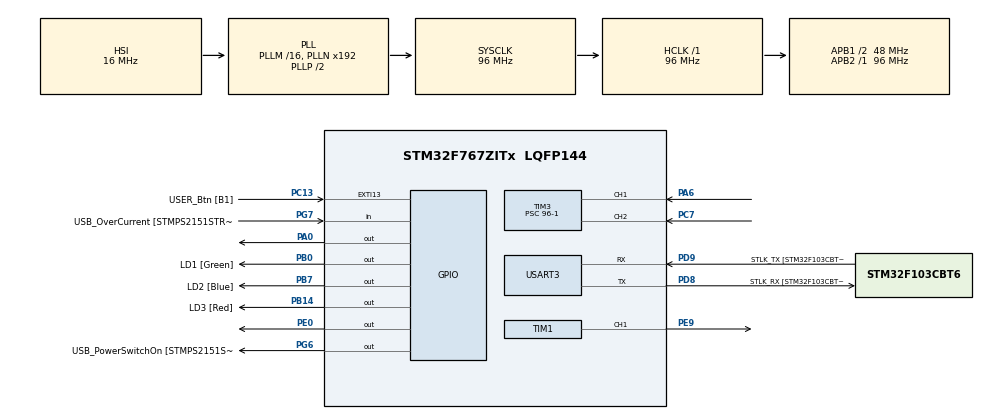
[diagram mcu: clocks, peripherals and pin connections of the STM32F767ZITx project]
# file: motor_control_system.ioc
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Mcu.Family=STM32F7
Mcu.Name=STM32F767ZITx
Mcu.Package=LQFP144
NVIC.PriorityGroup=NVIC_PRIORITYGROUP_4
NVIC.TIM2_IRQn=true\:0\:0\:false\:false\:true\:true\:true\:true
NVIC.TIM3_IRQn=true\:0\:0\:false\:false\:true\:true\:true\:true
NVIC.USART3_IRQn=true\:0\:0\:false\:false\:true\:true\:true\:true
PA0/WKUP.Signal=GPIO_Output
PA1.GPIO_Label=RMII_REF_CLK [LAN8742A-CZ-TR_REFCLK0]
PA1.Signal=ETH_REF_CLK
PA10.GPIO_Label=USB_ID
PA10.Signal=USB_OTG_FS_ID
PA11.GPIO_Label=USB_DM
PA11.Signal=USB_OTG_FS_DM
PA12.GPIO_Label=USB_DP
PA12.Signal=USB_OTG_FS_DP
PA13.GPIO_Label=TMS
PA13.Signal=SYS_JTMS-SWDIO
PA14.GPIO_Label=TCK
PA14.Signal=SYS_JTCK-SWCLK
PA2.GPIO_Label=RMII_MDIO [LAN8742A-CZ-TR_MDIO]
PA2.Signal=ETH_MDIO
PA6.Signal=S_TIM3_CH1
PA7.GPIO_Label=RMII_CRS_DV [LAN8742A-CZ-TR_CRS_DV]
PA7.Signal=ETH_CRS_DV
PA8.GPIO_Label=USB_SOF [TP1]
PA8.Signal=USB_OTG_FS_SOF
PA9.GPIO_Label=USB_VBUS
PA9.Signal=USB_OTG_FS_VBUS
PB0.GPIO_Label=LD1 [Green]
PB0.Signal=GPIO_Output
PB13.GPIO_Label=RMII_TXD1 [LAN8742A-CZ-TR_TXD1]
PB13.Signal=ETH_TXD1
PB14.GPIO_Label=LD3 [Red]
PB14.Signal=GPIO_Output
PB3.GPIO_Label=SW0
PB3.Signal=SYS_JTDO-SWO
PB7.GPIO_Label=LD2 [Blue]
PB7.Signal=GPIO_Output
PC1.GPIO_Label=RMII_MDC [LAN8742A-CZ-TR_MDC]
PC1.Signal=ETH_MDC
PC13.GPIO_Label=USER_Btn [B1]
PC13.Signal=GPXTI13
PC14/OSC32_IN.Signal=RCC_OSC32_IN
PC15/OSC32_OUT.Signal=RCC_OSC32_OUT
PC4.GPIO_Label=RMII_RXD0 [LAN8742A-CZ-TR_RXD0]
PC4.Signal=ETH_RXD0
PC5.GPIO_Label=RMII_RXD1 [LAN8742A-CZ-TR_RXD1]
PC5.Signal=ETH_RXD1
PC7.Signal=S_TIM3_CH2
PD8.GPIO_Label=STLK_RX [STM32F103CBT6_PA3]
PD8.Mode=Asynchronous
PD8.Signal=USART3_TX
PD9.GPIO_Label=STLK_TX [STM32F103CBT6_PA2]
PD9.Mode=Asynchronous
PD9.Signal=USART3_RX
PE0.Signal=GPIO_Output
PE9.Signal=S_TIM1_CH1
PG11.GPIO_Label=RMII_TX_EN [LAN8742A-CZ-TR_TXEN]
PG11.Signal=ETH_TX_EN
PG13.GPIO_Label=RMII_TXD0 [LAN8742A-CZ-TR_TXD0]
PG13.Signal=ETH_TXD0
PG6.GPIO_Label=USB_PowerSwitchOn [STMPS2151STR_EN]
PG6.Signal=GPIO_Output
PG7.GPIO_Label=USB_OverCurrent [STMPS2151STR_FAULT]
PG7.Signal=GPIO_Input
PH0/OSC_IN.GPIO_Label=MCO [STM32F103CBT6_PA8]
PH0/OSC_IN.Mode=HSE-External-Oscillator
PH0/OSC_IN.Signal=RCC_OSC_IN
PH1/OSC_OUT.Mode=HSE-External-Oscillator
PH1/OSC_OUT.Signal=RCC_OSC_OUT
ProjectManager.HeapSize=0x200
ProjectManager.StackSize=0x400
ProjectManager.TargetToolchain=STM32CubeIDE
RCC.48MHZClocksFreq_Value=24000000
RCC.AHBFreq_Value=96000000
RCC.APB1CLKDivider=RCC_HCLK_DIV2
RCC.APB1Freq_Value=48000000
RCC.APB1TimFreq_Value=96000000
RCC.APB2Freq_Value=96000000
RCC.APB2TimFreq_Value=96000000
RCC.CortexFreq_Value=96000000
RCC.HCLKFreq_Value=96000000
RCC.HSE_VALUE=16000000
RCC.HSI_VALUE=16000000
RCC.LSE_VALUE=32768
RCC.PLLMUL=RCC_PLL_MUL9
RCC.PRESCALERUSB=RCC_USBCLKSOURCE_PLL_DIV1_5
RCC.SYSCLKFreq_VALUE=96000000
RCC.SYSCLKSource=RCC_SYSCLKSOURCE_PLLCLK
RCC.SYSCLKSourceVirtual=RCC_SYSCLKSOURCE_PLLCLK
RCC.USBFreq_Value=96000000
RCC.VCOOutputFreq_Value=192000000
SH.S_TIM1_CH1.0=TIM1_CH1,PWM Generation1 CH1
SH.S_TIM3_CH1.0=TIM3_CH1,Encoder_Interface
SH.S_TIM3_CH2.0=TIM3_CH2,Encoder_Interface
TIM1.Channel-PWM\ Generation1\ CH1=TIM_CHANNEL_1
TIM1.Period=1000-1
TIM1.Prescaler=96-1
TIM2.Period=10000-1
TIM2.Prescaler=9600-1
TIM3.Period=1-1
TIM3.Prescaler=96-1
USART3.VirtualMode-Asynchronous=VM_ASYNC
VP_TIM1_VS_ClockSourceINT.Mode=Internal
VP_TIM2_VS_ClockSourceINT.Mode=Internal
board=NUCLEO-F767ZI

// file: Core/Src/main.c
/* USER CODE BEGIN Header */
/**
  ******************************************************************************
  * @file           : main.c
  * @brief          : Main program body
  ******************************************************************************
  * @attention
  *
  * Copyright (c) 2025 STMicroelectronics.
  * All rights reserved.
  *
  * This software is licensed under terms that can be found in the LICENSE file
  * in the root directory of this software component.
  * If no LICENSE file comes with this software, it is provided AS-IS.
  *
  ******************************************************************************
  */
/* USER CODE END Header */
#include "main.h"

/* USER CODE BEGIN Includes */
#include <string.h>
#include <stdlib.h>
#include "pid_controller.h"
/* USER CODE END Includes */

TIM_HandleTypeDef htim1;
TIM_HandleTypeDef htim2;
TIM_HandleTypeDef htim3;

UART_HandleTypeDef huart3;

/* USER CODE BEGIN PV */
const uint32_t max_rpm = 150;
uint32_t adc_raw = 0, pulses_per_sec = 0, proc_rpm = 0, setp_rpm = 0;
uint32_t pid_dc = 0, pid_rpm = 0;

// P = 0.55, I = 0.8, D = 0.0
const float P = 0.55f, I = 0.8f, D = 0.0f;

char rx_char[2] = {'\0'};
char tx_msg[12] = {'\0'};
uint8_t msg_pos = 0;

/* USER CODE END PV */

void SystemClock_Config(void);
static void MX_GPIO_Init(void);
static void MX_TIM2_Init(void);
static void MX_TIM3_Init(void);
static void MX_TIM1_Init(void);
static void MX_USART3_UART_Init(void);
/* USER CODE BEGIN PFP */
void HAL_TIM_IC_CaptureCallback(TIM_HandleTypeDef *htim);
void HAL_UART_RxCpltCallback(UART_HandleTypeDef *huart);

/* USER CODE END PFP */

int main(void)
{

  /* MCU Configuration--------------------------------------------------------*/

  /* Reset of all peripherals, Initializes the Flash interface and the Systick. */
  HAL_Init();

  /* Configure the system clock */
  SystemClock_Config();

  /* Initialize all configured peripherals */
  MX_GPIO_Init();
  MX_TIM2_Init();
  MX_TIM3_Init();
  MX_TIM1_Init();
  MX_USART3_UART_Init();
  /* USER CODE BEGIN 2 */
  HAL_TIM_Encoder_Start_IT(&htim3, TIM_CHANNEL_ALL);
  HAL_TIM_Base_Start_IT(&htim2);
  HAL_TIM_PWM_Start(&htim1, TIM_CHANNEL_1);

  /* USER CODE END 2 */

  /* Infinite loop */
  /* USER CODE BEGIN WHILE */
  //htim1.Instance->CCR1 = 1000-1;
  HAL_GPIO_WritePin(GPIOA, GPIO_PIN_0, 1);
  HAL_GPIO_WritePin(GPIOE, GPIO_PIN_0, 0);

  HAL_UART_Receive_IT(&huart3, (uint8_t*)rx_char, 1);

  // setp_dc = setpoint CONSTANT
  // process = encoder reading

  htim1.Instance->CCR1 = pid_dc;

  while (1)
  {
    /* USER CODE END WHILE */

    /* USER CODE BEGIN 3 */
	pid_rpm = (uint32_t)PID_controller_1((float)setp_rpm, (float)proc_rpm, P, I, D, (float)max_rpm);
	pid_dc = (uint32_t)(((float)(pid_rpm)/1.5f)*10.0f);
	htim1.Instance->CCR1 = pid_dc;
	HAL_Delay(1);
  }
  /* USER CODE END 3 */
}

void SystemClock_Config(void)
{
  RCC_OscInitTypeDef RCC_OscInitStruct = {0};
  RCC_ClkInitTypeDef RCC_ClkInitStruct = {0};

  /** Configure the main internal regulator output voltage
  */
  __HAL_RCC_PWR_CLK_ENABLE();
  __HAL_PWR_VOLTAGESCALING_CONFIG(PWR_REGULATOR_VOLTAGE_SCALE3);

  /** Initializes the RCC Oscillators according to the specified parameters
  * in the RCC_OscInitTypeDef structure.
  */
  RCC_OscInitStruct.OscillatorType = RCC_OSCILLATORTYPE_HSI;
  RCC_OscInitStruct.HSIState = RCC_HSI_ON;
  RCC_OscInitStruct.HSICalibrationValue = RCC_HSICALIBRATION_DEFAULT;
  RCC_OscInitStruct.PLL.PLLState = RCC_PLL_ON;
  RCC_OscInitStruct.PLL.PLLSource = RCC_PLLSOURCE_HSI;
  RCC_OscInitStruct.PLL.PLLM = 16;
  RCC_OscInitStruct.PLL.PLLN = 192;
  RCC_OscInitStruct.PLL.PLLP = RCC_PLLP_DIV2;
  RCC_OscInitStruct.PLL.PLLQ = 2;
  RCC_OscInitStruct.PLL.PLLR = 2;
  if (HAL_RCC_OscConfig(&RCC_OscInitStruct) != HAL_OK)
  {
    Error_Handler();
  }

  /** Activate the Over-Drive mode
  */
  if (HAL_PWREx_EnableOverDrive() != HAL_OK)
  {
    Error_Handler();
  }

  /** Initializes the CPU, AHB and APB buses clocks
  */
  RCC_ClkInitStruct.ClockType = RCC_CLOCKTYPE_HCLK|RCC_CLOCKTYPE_SYSCLK
                              |RCC_CLOCKTYPE_PCLK1|RCC_CLOCKTYPE_PCLK2;
  RCC_ClkInitStruct.SYSCLKSource = RCC_SYSCLKSOURCE_PLLCLK;
  RCC_ClkInitStruct.AHBCLKDivider = RCC_SYSCLK_DIV1;
  RCC_ClkInitStruct.APB1CLKDivider = RCC_HCLK_DIV2;
  RCC_ClkInitStruct.APB2CLKDivider = RCC_HCLK_DIV1;

  if (HAL_RCC_ClockConfig(&RCC_ClkInitStruct, FLASH_LATENCY_3) != HAL_OK)
  {
    Error_Handler();
  }
}

static void MX_TIM1_Init(void)
{

  TIM_ClockConfigTypeDef sClockSourceConfig = {0};
  TIM_MasterConfigTypeDef sMasterConfig = {0};
  TIM_OC_InitTypeDef sConfigOC = {0};
  TIM_BreakDeadTimeConfigTypeDef sBreakDeadTimeConfig = {0};

  htim1.Instance = TIM1;
  htim1.Init.Prescaler = 96-1;
  htim1.Init.CounterMode = TIM_COUNTERMODE_UP;
  htim1.Init.Period = 1000-1;
  htim1.Init.ClockDivision = TIM_CLOCKDIVISION_DIV1;
  htim1.Init.RepetitionCounter = 0;
  htim1.Init.AutoReloadPreload = TIM_AUTORELOAD_PRELOAD_DISABLE;
  if (HAL_TIM_Base_Init(&htim1) != HAL_OK)
  {
    Error_Handler();
  }
  sClockSourceConfig.ClockSource = TIM_CLOCKSOURCE_INTERNAL;
  if (HAL_TIM_ConfigClockSource(&htim1, &sClockSourceConfig) != HAL_OK)
  {
    Error_Handler();
  }
  if (HAL_TIM_PWM_Init(&htim1) != HAL_OK)
  {
    Error_Handler();
  }
  sMasterConfig.MasterOutputTrigger = TIM_TRGO_RESET;
  sMasterConfig.MasterOutputTrigger2 = TIM_TRGO2_RESET;
  sMasterConfig.MasterSlaveMode = TIM_MASTERSLAVEMODE_DISABLE;
  if (HAL_TIMEx_MasterConfigSynchronization(&htim1, &sMasterConfig) != HAL_OK)
  {
    Error_Handler();
  }
  sConfigOC.OCMode = TIM_OCMODE_PWM1;
  sConfigOC.Pulse = 0;
  sConfigOC.OCPolarity = TIM_OCPOLARITY_HIGH;
  sConfigOC.OCNPolarity = TIM_OCNPOLARITY_HIGH;
  sConfigOC.OCFastMode = TIM_OCFAST_DISABLE;
  sConfigOC.OCIdleState = TIM_OCIDLESTATE_RESET;
  sConfigOC.OCNIdleState = TIM_OCNIDLESTATE_RESET;
  if (HAL_TIM_PWM_ConfigChannel(&htim1, &sConfigOC, TIM_CHANNEL_1) != HAL_OK)
  {
    Error_Handler();
  }
  sBreakDeadTimeConfig.OffStateRunMode = TIM_OSSR_DISABLE;
  sBreakDeadTimeConfig.OffStateIDLEMode = TIM_OSSI_DISABLE;
  sBreakDeadTimeConfig.LockLevel = TIM_LOCKLEVEL_OFF;
  sBreakDeadTimeConfig.DeadTime = 0;
  sBreakDeadTimeConfig.BreakState = TIM_BREAK_DISABLE;
  sBreakDeadTimeConfig.BreakPolarity = TIM_BREAKPOLARITY_HIGH;
  sBreakDeadTimeConfig.BreakFilter = 0;
  sBreakDeadTimeConfig.Break2State = TIM_BREAK2_DISABLE;
  sBreakDeadTimeConfig.Break2Polarity = TIM_BREAK2POLARITY_HIGH;
  sBreakDeadTimeConfig.Break2Filter = 0;
  sBreakDeadTimeConfig.AutomaticOutput = TIM_AUTOMATICOUTPUT_DISABLE;
  if (HAL_TIMEx_ConfigBreakDeadTime(&htim1, &sBreakDeadTimeConfig) != HAL_OK)
  {
    Error_Handler();
  }
  HAL_TIM_MspPostInit(&htim1);

}

static void MX_TIM2_Init(void)
{

  TIM_ClockConfigTypeDef sClockSourceConfig = {0};
  TIM_MasterConfigTypeDef sMasterConfig = {0};

  htim2.Instance = TIM2;
  htim2.Init.Prescaler = 9600-1;
  htim2.Init.CounterMode = TIM_COUNTERMODE_UP;
  htim2.Init.Period = 10000-1;
  htim2.Init.ClockDivision = TIM_CLOCKDIVISION_DIV1;
  htim2.Init.AutoReloadPreload = TIM_AUTORELOAD_PRELOAD_DISABLE;
  if (HAL_TIM_Base_Init(&htim2) != HAL_OK)
  {
    Error_Handler();
  }
  sClockSourceConfig.ClockSource = TIM_CLOCKSOURCE_INTERNAL;
  if (HAL_TIM_ConfigClockSource(&htim2, &sClockSourceConfig) != HAL_OK)
  {
    Error_Handler();
  }
  sMasterConfig.MasterOutputTrigger = TIM_TRGO_RESET;
  sMasterConfig.MasterSlaveMode = TIM_MASTERSLAVEMODE_DISABLE;
  if (HAL_TIMEx_MasterConfigSynchronization(&htim2, &sMasterConfig) != HAL_OK)
  {
    Error_Handler();
  }

}

static void MX_TIM3_Init(void)
{

  TIM_Encoder_InitTypeDef sConfig = {0};
  TIM_MasterConfigTypeDef sMasterConfig = {0};

  htim3.Instance = TIM3;
  htim3.Init.Prescaler = 96-1;
  htim3.Init.CounterMode = TIM_COUNTERMODE_UP;
  htim3.Init.Period = 1-1;
  htim3.Init.ClockDivision = TIM_CLOCKDIVISION_DIV1;
  htim3.Init.AutoReloadPreload = TIM_AUTORELOAD_PRELOAD_DISABLE;
  sConfig.EncoderMode = TIM_ENCODERMODE_TI1;
  sConfig.IC1Polarity = TIM_ICPOLARITY_RISING;
  sConfig.IC1Selection = TIM_ICSELECTION_DIRECTTI;
  sConfig.IC1Prescaler = TIM_ICPSC_DIV1;
  sConfig.IC1Filter = 0;
  sConfig.IC2Polarity = TIM_ICPOLARITY_RISING;
  sConfig.IC2Selection = TIM_ICSELECTION_DIRECTTI;
  sConfig.IC2Prescaler = TIM_ICPSC_DIV1;
  sConfig.IC2Filter = 0;
  if (HAL_TIM_Encoder_Init(&htim3, &sConfig) != HAL_OK)
  {
    Error_Handler();
  }
  sMasterConfig.MasterOutputTrigger = TIM_TRGO_RESET;
  sMasterConfig.MasterSlaveMode = TIM_MASTERSLAVEMODE_DISABLE;
  if (HAL_TIMEx_MasterConfigSynchronization(&htim3, &sMasterConfig) != HAL_OK)
  {
    Error_Handler();
  }

}

static void MX_USART3_UART_Init(void)
{

  huart3.Instance = USART3;
  huart3.Init.BaudRate = 115200;
  huart3.Init.WordLength = UART_WORDLENGTH_8B;
  huart3.Init.StopBits = UART_STOPBITS_1;
  huart3.Init.Parity = UART_PARITY_NONE;
  huart3.Init.Mode = UART_MODE_TX_RX;
  huart3.Init.HwFlowCtl = UART_HWCONTROL_NONE;
  huart3.Init.OverSampling = UART_OVERSAMPLING_16;
  huart3.Init.OneBitSampling = UART_ONE_BIT_SAMPLE_DISABLE;
  huart3.AdvancedInit.AdvFeatureInit = UART_ADVFEATURE_NO_INIT;
  if (HAL_UART_Init(&huart3) != HAL_OK)
  {
    Error_Handler();
  }

}

static void MX_GPIO_Init(void)
{
  GPIO_InitTypeDef GPIO_InitStruct = {0};

  /* GPIO Ports Clock Enable */
  __HAL_RCC_GPIOC_CLK_ENABLE();
  __HAL_RCC_GPIOH_CLK_ENABLE();
  __HAL_RCC_GPIOA_CLK_ENABLE();
  __HAL_RCC_GPIOB_CLK_ENABLE();
  __HAL_RCC_GPIOE_CLK_ENABLE();
  __HAL_RCC_GPIOD_CLK_ENABLE();
  __HAL_RCC_GPIOG_CLK_ENABLE();

  /*Configure GPIO pin Output Level */
  HAL_GPIO_WritePin(GPIOA, GPIO_PIN_0, GPIO_PIN_RESET);

  /*Configure GPIO pin Output Level */
  HAL_GPIO_WritePin(GPIOB, LD1_Pin|LD3_Pin|LD2_Pin, GPIO_PIN_RESET);

  /*Configure GPIO pin Output Level */
  HAL_GPIO_WritePin(USB_PowerSwitchOn_GPIO_Port, USB_PowerSwitchOn_Pin, GPIO_PIN_RESET);

  /*Configure GPIO pin Output Level */
  HAL_GPIO_WritePin(GPIOE, GPIO_PIN_0, GPIO_PIN_RESET);

  /*Configure GPIO pin : USER_Btn_Pin */
  GPIO_InitStruct.Pin = USER_Btn_Pin;
  GPIO_InitStruct.Mode = GPIO_MODE_IT_RISING;
  GPIO_InitStruct.Pull = GPIO_NOPULL;
  HAL_GPIO_Init(USER_Btn_GPIO_Port, &GPIO_InitStruct);

  /*Configure GPIO pins : RMII_MDC_Pin RMII_RXD0_Pin RMII_RXD1_Pin */
  GPIO_InitStruct.Pin = RMII_MDC_Pin|RMII_RXD0_Pin|RMII_RXD1_Pin;
  GPIO_InitStruct.Mode = GPIO_MODE_AF_PP;
  GPIO_InitStruct.Pull = GPIO_NOPULL;
  GPIO_InitStruct.Speed = GPIO_SPEED_FREQ_VERY_HIGH;
  GPIO_InitStruct.Alternate = GPIO_AF11_ETH;
  HAL_GPIO_Init(GPIOC, &GPIO_InitStruct);

  /*Configure GPIO pin : PA0 */
  GPIO_InitStruct.Pin = GPIO_PIN_0;
  GPIO_InitStruct.Mode = GPIO_MODE_OUTPUT_PP;
  GPIO_InitStruct.Pull = GPIO_NOPULL;
  GPIO_InitStruct.Speed = GPIO_SPEED_FREQ_LOW;
  HAL_GPIO_Init(GPIOA, &GPIO_InitStruct);

  /*Configure GPIO pins : RMII_REF_CLK_Pin RMII_MDIO_Pin RMII_CRS_DV_Pin */
  GPIO_InitStruct.Pin = RMII_REF_CLK_Pin|RMII_MDIO_Pin|RMII_CRS_DV_Pin;
  GPIO_InitStruct.Mode = GPIO_MODE_AF_PP;
  GPIO_InitStruct.Pull = GPIO_NOPULL;
  GPIO_InitStruct.Speed = GPIO_SPEED_FREQ_VERY_HIGH;
  GPIO_InitStruct.Alternate = GPIO_AF11_ETH;
  HAL_GPIO_Init(GPIOA, &GPIO_InitStruct);

  /*Configure GPIO pins : LD1_Pin LD3_Pin LD2_Pin */
  GPIO_InitStruct.Pin = LD1_Pin|LD3_Pin|LD2_Pin;
  GPIO_InitStruct.Mode = GPIO_MODE_OUTPUT_PP;
  GPIO_InitStruct.Pull = GPIO_NOPULL;
  GPIO_InitStruct.Speed = GPIO_SPEED_FREQ_LOW;
  HAL_GPIO_Init(GPIOB, &GPIO_InitStruct);

  /*Configure GPIO pin : RMII_TXD1_Pin */
  GPIO_InitStruct.Pin = RMII_TXD1_Pin;
  GPIO_InitStruct.Mode = GPIO_MODE_AF_PP;
  GPIO_InitStruct.Pull = GPIO_NOPULL;
  GPIO_InitStruct.Speed = GPIO_SPEED_FREQ_VERY_HIGH;
  GPIO_InitStruct.Alternate = GPIO_AF11_ETH;
  HAL_GPIO_Init(RMII_TXD1_GPIO_Port, &GPIO_InitStruct);

  /*Configure GPIO pin : USB_PowerSwitchOn_Pin */
  GPIO_InitStruct.Pin = USB_PowerSwitchOn_Pin;
  GPIO_InitStruct.Mode = GPIO_MODE_OUTPUT_PP;
  GPIO_InitStruct.Pull = GPIO_NOPULL;
  GPIO_InitStruct.Speed = GPIO_SPEED_FREQ_LOW;
  HAL_GPIO_Init(USB_PowerSwitchOn_GPIO_Port, &GPIO_InitStruct);

  /*Configure GPIO pin : USB_OverCurrent_Pin */
  GPIO_InitStruct.Pin = USB_OverCurrent_Pin;
  GPIO_InitStruct.Mode = GPIO_MODE_INPUT;
  GPIO_InitStruct.Pull = GPIO_NOPULL;
  HAL_GPIO_Init(USB_OverCurrent_GPIO_Port, &GPIO_InitStruct);

  /*Configure GPIO pins : USB_SOF_Pin USB_ID_Pin USB_DM_Pin USB_DP_Pin */
  GPIO_InitStruct.Pin = USB_SOF_Pin|USB_ID_Pin|USB_DM_Pin|USB_DP_Pin;
  GPIO_InitStruct.Mode = GPIO_MODE_AF_PP;
  GPIO_InitStruct.Pull = GPIO_NOPULL;
  GPIO_InitStruct.Speed = GPIO_SPEED_FREQ_VERY_HIGH;
  GPIO_InitStruct.Alternate = GPIO_AF10_OTG_FS;
  HAL_GPIO_Init(GPIOA, &GPIO_InitStruct);

  /*Configure GPIO pin : USB_VBUS_Pin */
  GPIO_InitStruct.Pin = USB_VBUS_Pin;
  GPIO_InitStruct.Mode = GPIO_MODE_INPUT;
  GPIO_InitStruct.Pull = GPIO_NOPULL;
  HAL_GPIO_Init(USB_VBUS_GPIO_Port, &GPIO_InitStruct);

  /*Configure GPIO pins : RMII_TX_EN_Pin RMII_TXD0_Pin */
  GPIO_InitStruct.Pin = RMII_TX_EN_Pin|RMII_TXD0_Pin;
  GPIO_InitStruct.Mode = GPIO_MODE_AF_PP;
  GPIO_InitStruct.Pull = GPIO_NOPULL;
  GPIO_InitStruct.Speed = GPIO_SPEED_FREQ_VERY_HIGH;
  GPIO_InitStruct.Alternate = GPIO_AF11_ETH;
  HAL_GPIO_Init(GPIOG, &GPIO_InitStruct);

  /*Configure GPIO pin : PE0 */
  GPIO_InitStruct.Pin = GPIO_PIN_0;
  GPIO_InitStruct.Mode = GPIO_MODE_OUTPUT_PP;
  GPIO_InitStruct.Pull = GPIO_NOPULL;
  GPIO_InitStruct.Speed = GPIO_SPEED_FREQ_LOW;
  HAL_GPIO_Init(GPIOE, &GPIO_InitStruct);

}

/* USER CODE BEGIN 4 */
void HAL_TIM_IC_CaptureCallback(TIM_HandleTypeDef *htim){
	if(htim->Instance == TIM3){
		pulses_per_sec += 1;
	}
}

void HAL_UART_RxCpltCallback(UART_HandleTypeDef *huart)
{
    if(rx_char[0] != '\r' && rx_char[0] != '\n' && msg_pos+1 < sizeof(tx_msg)-2){
    	tx_msg[msg_pos] = rx_char[0];
    	msg_pos++;
    }
    else{
    	int conv_rpm = atoi(tx_msg);
    	if(conv_rpm > 150){
    		setp_rpm = 150;
    	}
    	else if(conv_rpm < 0){
    		setp_rpm = 0;
    	}
    	else{
    		setp_rpm = conv_rpm;
    	}
    	tx_msg[msg_pos+1] = '\r';
    	tx_msg[msg_pos+2] = '\n';
    	HAL_UART_Transmit(huart, (uint8_t*)tx_msg, sizeof(tx_msg), 100);
    	memset(tx_msg, '\0', sizeof(tx_msg));
    	msg_pos = 0;
    }
    HAL_UART_Receive_IT(huart, (uint8_t*)rx_char, 1);		// reset interrupt
}

/* USER CODE END 4 */

void Error_Handler(void)
{
  __disable_irq();
  while (1)
  {
  }
}
